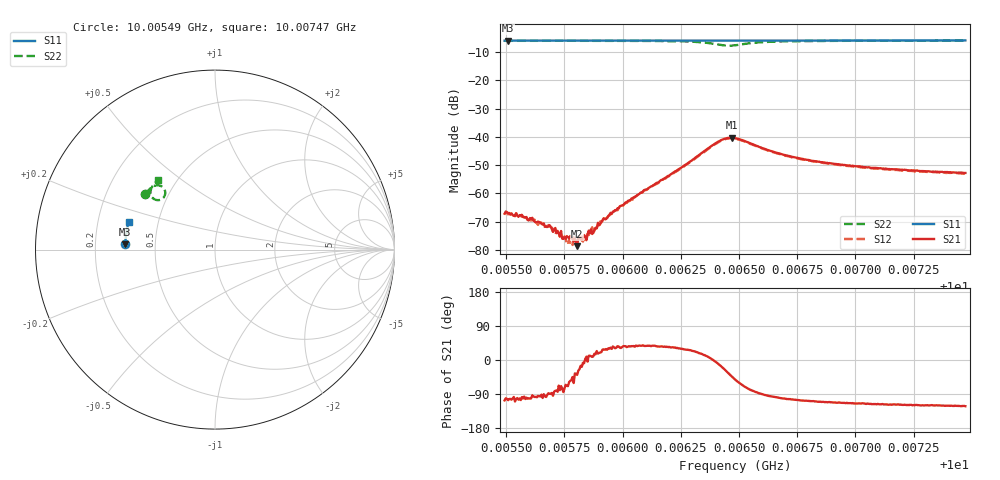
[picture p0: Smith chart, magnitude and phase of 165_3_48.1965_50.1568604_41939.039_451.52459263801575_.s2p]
#  HZ  S  RI  R  50.00
! Rohde & Schwarz Vector Network Analyzer
! Rohde-Schwarz,ZNB20-2Port,1311601062101988,3.16
! Created: UTC 3/20/2024, 11:43:30 AM
! freq[Hz]  re:S11  im:S11  re:S21  im:S21  re:S12  im:S12  re:S22  im:S22
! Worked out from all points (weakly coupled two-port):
!   401 points, 10.00549 GHz to 10.00747 GHz, reference 50 ohm
!   highest |S21| = -40.34 dB at 10.00647 GHz (marker M1); lowest = -78.7 dB at 10.00581 GHz (marker M2)
!   lowest |S11| = -6.0 dB at 10.00551 GHz (marker M3), VSWR 3.00, Z = 16.7 + j1.36 ohm
!   |S11| at or under -10 dB: nowhere
!   |S22| runs from -7.8 to -6.0 dB; largest |S21 - S12| = 0.00056
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1.0005493e10  -0.4998 0.0297  -0.000125 -0.000419  -8.16e-05 -0.000456  -0.3901 0.3071
1.0005508e10  -0.4997 0.0306  -0.000122 -0.000426  -7.5e-05 -0.000419  -0.3895 0.3079
1.0005612e10  -0.4995 0.0374  -1.92e-05 -0.000369  -2.35e-05 -0.000342  -0.385 0.3143
1.0005686e10  -0.4993 0.0421  5e-06 -0.000273  1.1e-07 -0.000271  -0.3813 0.3188
1.0005751e10  -0.4991 0.0463  4.44e-05 -0.000161  8.49e-05 -0.000151  -0.3783 0.3227
1.000577e10  -0.4989 0.0477  8.46e-05 -0.000136  9.95e-05 -0.000117  -0.377 0.324
1.0005795e10  -0.4986 0.0494  0.00013 -9.21e-05  0.00012 -8.71e-05  -0.3757 0.3255
1.0005805e10  -0.4986 0.05  9.02e-05 -7.38e-05  0.00011 -8.51e-05  -0.3753 0.3262
1.0005825e10  -0.4987 0.0513  0.000141 -4.53e-05  0.000136 -5.86e-05  -0.3741 0.3275
1.0005835e10  -0.4986 0.0519  0.000181 -2.7e-05  0.000156 -6.04e-06  -0.3736 0.3281
1.0005859e10  -0.4983 0.0535  0.000193 3.87e-05  0.000203 2.68e-05  -0.3721 0.3296
1.0005879e10  -0.4984 0.0547  0.000213 6.38e-05  0.000213 9.48e-05  -0.3709 0.3309
1.0005914e10  -0.4982 0.0569  0.0003 0.000157  0.000287 0.000162  -0.3687 0.3334
1.0005998e10  -0.4977 0.0626  0.000508 0.000346  0.0005 0.000377  -0.3628 0.339
1.0006156e10  -0.4966 0.0727  0.00129 0.000922  0.00122 0.000992  -0.3475 0.3506
1.0006409e10  -0.4936 0.0889  0.008 -0.00125  0.00787 -0.000855  -0.2783 0.3263
1.0006468e10  -0.4932 0.0921  0.00704 -0.00655  0.0072 -0.00602  -0.2967 0.2815
1.0006483e10  -0.4931 0.0929  0.0059 -0.00738  0.00615 -0.00693  -0.3084 0.2765
1.0006656e10  -0.4919 0.1039  -0.000711 -0.00524  -0.00047 -0.00518  -0.3596 0.32
1.0006814e10  -0.4902 0.1141  -0.00121 -0.00356  -0.00101 -0.00354  -0.3531 0.3443
1.0007146e10  -0.4855 0.1352  -0.00126 -0.00238  -0.00111 -0.0024  -0.3352 0.3701
1.0007472e10  -0.4801 0.1553  -0.00121 -0.00195  -0.00109 -0.00195  -0.318 0.3881
